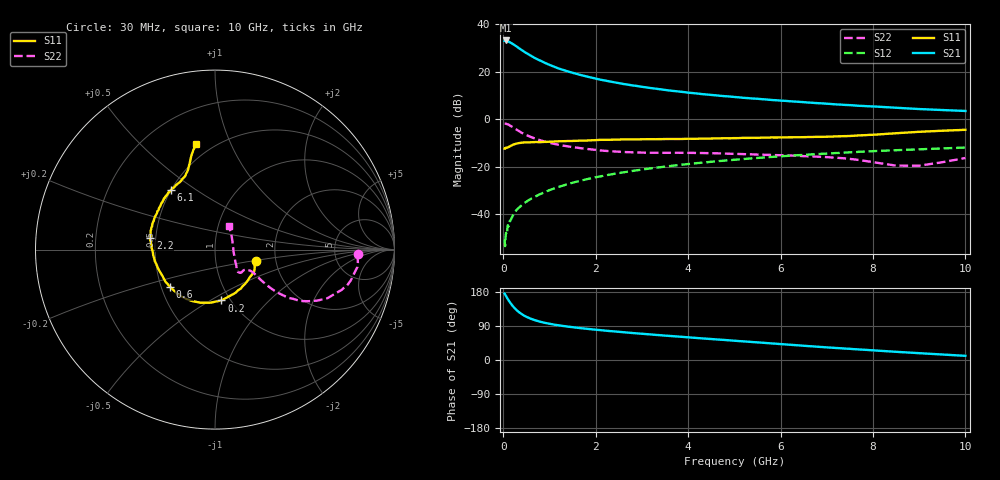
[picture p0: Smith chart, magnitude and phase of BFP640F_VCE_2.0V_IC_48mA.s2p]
! Infineon Technologies  Discrete & RF Semiconductors
! BFP640F
! VCE =  2.0 V,  IC =  48 mA
! Common Emitter S-Parameters:  Apr 2013
# GHz  S  MA  R  50
!  f  S11  S21  S12  S22
! GHz  MAG  ANG  MAG  ANG  MAG  ANG  MAG  ANG
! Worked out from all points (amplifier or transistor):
!   99 points, 30 MHz to 10 GHz, reference 50 ohm
!   highest |S21| = 33.2 dB at 50 MHz (marker M1)
!   |S21| within 3 dB of that: start of sweep to 322.6 MHz
!   unconditionally stable (mu >= 1): start of sweep to 56.92 MHz; 64.46 MHz to 83.83 MHz; 899.5 MHz to end of sweep
!   at 350 MHz: K = 0.78, MSG = 33.5 dB, |S12| = -37.1 dB
!   at 3.5 GHz: K = 1.13, MAG = 13.9 dB, |S12| = -20.0 dB
!   at 10 GHz: K = 1.08, MAG = 6.0 dB, |S12| = -12.0 dB
!   S11 on the Smith chart (normalised r, x): 30 MHz: 1.58, -0.21; 200 MHz: 0.91, -0.56; 600 MHz: 0.56, -0.26; 2.2 GHz: 0.47, +0.07; 6.1 GHz: 0.50, +0.40; 10 GHz: 0.41, +0.75
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0.03  0.2384 -15.5  44.51 175.2  0.0029 74.6  0.7965 -1.9
0.05  0.2441 -24.9  45.47 171.3  0.0032 93.2  0.7995 -5.3
0.08  0.2479 -39.2  44.78 164.6  0.0038 60.7  0.7864 -9.8
0.12  0.2604 -56.5  42.89 156.8  0.0056 72.1  0.762 -15.4
0.15  0.2681 -67.8  41.35 151.5  0.0071 70.7  0.7283 -18.7
0.2  0.2856 -82.9  38.75 143.2  0.0089 71.5  0.6823 -23.4
0.25  0.2972 -95.2  36.02 136.4  0.011 71.6  0.6353 -26.6
0.3  0.3066 -105.1  33.41 130.4  0.0125 70.5  0.5913 -29.1
0.4  0.3188 -120.9  28.56 121.1  0.0153 69.5  0.5146 -32.2
0.5  0.3227 -131.9  24.7 114.1  0.0182 69.9  0.461 -33.8
0.6  0.325 -140.3  21.65 108.7  0.0209 69.5  0.4196 -34.6
0.8  0.3274 -152.7  17.11 101.0  0.0263 70.9  0.3582 -34.5
1  0.334 -162.0  13.94 95.7  0.0319 71.1  0.317 -33.8
1.3  0.3424 -172.0  10.86 89.7  0.0399 71.0  0.2759 -32.2
1.7  0.3534 178.4  8.374 83.7  0.051 70.0  0.2421 -30.8
2.2  0.3665 169.9  6.503 77.6  0.0647 68.3  0.2148 -32.2
3.4  0.3794 153.5  4.248 65.4  0.097 62.6  0.1949 -38.2
5.1  0.3987 135.8  2.877 50.0  0.1416 53.2  0.1842 -43.8
6.1  0.4125 126.7  2.425 41.2  0.1669 47.2  0.1718 -43.9
6.7  0.4204 120.1  2.205 35.9  0.1809 43.5  0.1631 -42.4
8.5  0.5039 106.2  1.737 21.6  0.2212 32.8  0.1047 -7.4
10  0.5951 100.1  1.486 11.0  0.2519 24.4  0.1513 59.2
